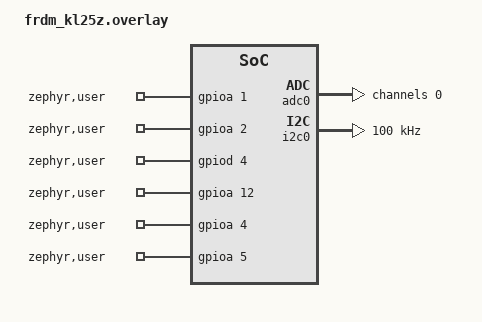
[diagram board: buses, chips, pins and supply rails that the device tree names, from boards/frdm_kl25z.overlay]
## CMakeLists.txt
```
cmake_minimum_required(VERSION 3.20.0)
find_package(Zephyr REQUIRED HINTS $ENV{ZEPHYR_BASE})
project(tracker_solar)

target_sources(app PRIVATE
    src/main.cpp

    lib/pot/src/pot.cpp
    lib/pwm/src/pwm_z42.c
    lib/servo/src/servo.cpp
    lib/rtc/src/rtc.cpp
    lib/tracker/src/tracker.cpp
    lib/lcd/src/lcd.cpp
    lib/button/src/button.cpp
)

target_include_directories(app PRIVATE
    lib/pot/include
    lib/pwm/include
    lib/servo/include
    lib/rtc/include
    lib/tracker/include
    lib/lcd/include
    lib/button/include
)
```

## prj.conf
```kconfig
CONFIG_GPIO=y
CONFIG_ADC=y
CONFIG_SERIAL=y
CONFIG_I2C=y
```

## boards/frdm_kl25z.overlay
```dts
/ {
    aliases {
        my-adc = &adc0;
        my-adc-channel = &adc_ch0;
    };
};

&adc0 {
    status = "okay";
    #address-cells = <1>;
    #size-cells = <0>;

    adc_ch0: channel@0 {
        reg = <0>;
        zephyr,gain = "ADC_GAIN_1";
        zephyr,reference = "ADC_REF_INTERNAL";
        zephyr,acquisition-time = <ADC_ACQ_TIME_DEFAULT>;
        zephyr,resolution = <12>;
        zephyr,vref-mv = <3300>;
    };
};

&pinctrl {
    i2c0_default: i2c0_default {
        group0 {
            pinmux = <I2C0_SCL_PTC8>, <I2C0_SDA_PTC9>;
        };
    };
};

&i2c0 {
    status = "okay";
    pinctrl-0 = <&i2c0_default>;
    pinctrl-names = "default";
    clock-frequency = <I2C_BITRATE_STANDARD>;
};











































/*
 * frdm_kl25z.overlay
 *
 * Mapeamento de pinos do LCD HD44780 para a FRDM-KL25Z.
 *
 * Conexão física (modo 4-bit):
 *
 *   LCD Pino | Sinal | Header FRDM-KL25Z | GPIO
 *   ---------|-------|-------------------|-------
 *      1     |  VSS  |       GND         |  —
 *      2     |  VDD  |       +5V         |  —
 *      3     |  VO   |  Pot. 10kΩ p/ GND |  —   (ajuste de contraste)
 *      4     |  RS   |       J1-2        | PTA1
 *      5     |  RW   |       GND         |  —   (somente escrita)
 *      6     |  EN   |       J1-4        | PTA2
 *      7–10  | D0–D3 |       N/C         |  —   (não usados em 4-bit)
 *     11     |  D4   |       J2-6        | PTD4
 *     12     |  D5   |       J1-12       | PTA12
 *     13     |  D6   |       J1-6        | PTA4
 *     14     |  D7   |       J1-8        | PTA5
 *     15     |  A    |  +5V via 330Ω    |  —   (backlight +)
 *     16     |  K    |       GND         |  —   (backlight -)
 *
 * Nota: a KL25Z opera em 3,3 V. A maioria dos módulos LCD com
 * HD44780 funciona corretamente com 3,3 V no barramento de dados.
 * Ajuste o potenciômetro de contraste até o texto aparecer.
 *
 * Estratégia do overlay:
 *   O nó "zephyr,user" é o mecanismo oficial do Zephyr para
 *   declarar múltiplos GPIOs avulsos sem precisar criar um
 *   binding customizado. Todos os pinos ficam numa única
 *   propriedade "gpios" e são acessados por índice no firmware.
 */

/ {
    chosen {
        /*
         * Nenhuma alteração nos periféricos principais —
         * apenas declaramos os GPIOs do LCD abaixo.
         */
    };

    zephyr,user {
        /*
         * Ordem dos pinos (índice na array "gpios"):
         *   0 → RS   (PTA1)
         *   1 → EN   (PTA2)
         *   2 → D4   (PTD4)
         *   3 → D5   (PTA12)
         *   4 → D6   (PTA4)
         *   5 → D7   (PTA5)
         */
        gpios = <&gpioa 1  GPIO_ACTIVE_HIGH>,   /* RS  */
                <&gpioa 2  GPIO_ACTIVE_HIGH>,   /* EN  */
                <&gpiod 4  GPIO_ACTIVE_HIGH>,   /* D4  */
                <&gpioa 12 GPIO_ACTIVE_HIGH>,   /* D5  */
                <&gpioa 4  GPIO_ACTIVE_HIGH>,   /* D6  */
                <&gpioa 5  GPIO_ACTIVE_HIGH>;   /* D7  */
    };
};
```

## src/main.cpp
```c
#include <servo.hpp>
#include <rtc.hpp>
#include <tracker.hpp>
#include <button.hpp>
#include <pot.hpp>

const struct device *i2c = DEVICE_DT_GET(DT_NODELABEL(i2c0));
static const struct gpio_dt_spec btn = GPIO_DT_SPEC_GET(DT_NODELABEL(user_button_0), gpios);
static const struct device *adc = DEVICE_DT_GET(DT_ALIAS(my_adc));
static const struct adc_channel_cfg adc_ch = ADC_CHANNEL_CFG_DT(DT_ALIAS(my_adc_channel));

int main(void)
{
    int theta;
    Servo myServoGamma(TPM1, 0, GPIOB, 0);
    Servo myServoBeta(TPM1, 1, GPIOB, 1);
    Potenciometro myPot(adc, adc_ch);
    MyRTC myTimer(i2c);
    Tracker tracker(-23.5570, -46.7290);
    Button myButton(btn);
    struct tempo agora;

    //struct tempo set = { .sec=0, .min=15, .hour=11,
    //                            .wday=4, .mday=2, .month=7, .year=26 };
    //myTimer.write(&set);

    while(1)
    {
        switch(myButton.modo_atual_)
        {
            case MODO_AUTOMATICO:
                myTimer.read();
                agora = myTimer.getTempo();
                tracker.atualizar(agora);
                myServoGamma.write(tracker.getGamma());
                if (tracker.getBeta() < 45) theta = 45;
                if (tracker.getBeta() > 135) theta = 135;
                myServoBeta.write(theta);
                k_msleep(1000);
                break;

            case MODO_MANUAL_1G:
                theta = myPot.read();
                myServoGamma.write(theta);
                break;

            case MODO_MANUAL_2B:
                theta = myPot.read();
                if (theta < 45) theta = 45;
                if (theta > 135) theta = 135;
                myServoBeta.write(theta);
                break;
        }
    }
}
```
